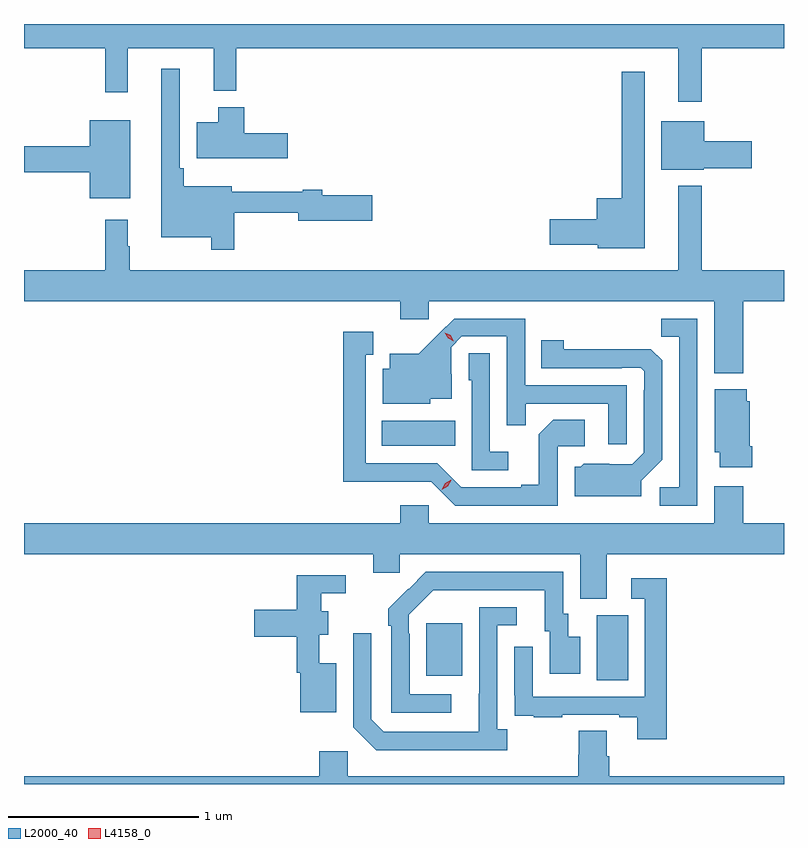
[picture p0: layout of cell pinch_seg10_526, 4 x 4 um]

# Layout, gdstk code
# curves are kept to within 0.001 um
import gdstk
lib = gdstk.Library(unit=1e-6, precision=1e-09)
def R(c, l, rs):  # rectangles x0, y0, x1, y1
    for r in rs: c.add(gdstk.rectangle(r[:2], r[2:], *l))
def P(c, l, *ps):  # polygons
    for p in ps: c.add(gdstk.Polygon(p, *l))
L2000_40 = (2000, 40)
L4158_0 = (4158, 0)

pinch_seg10_526 = lib.new_cell('pinch_seg10_526')
R(pinch_seg10_526, L2000_40, [(301.448,1263.688,301.612,1264.032), (300.551,1263.713,300.739,1263.988), (300.317,1264.922,300.704,1265.056)])
P(pinch_seg10_526, L2000_40, [(301.999,1267.016),(302.433,1267.016),(302.433,1267.143),(298.433,1267.143),(298.433,1267.016),(298.861,1267.016),(298.861,1266.783),(298.979,1266.783),(298.979,1267.016),(299.432,1267.016),(299.432,1266.791),(299.549,1266.791),(299.549,1267.016),(301.877,1267.016),(301.877,1266.735),(301.999,1266.735)],
  [(299.539,1266.15),(299.876,1266.15),(299.876,1266.107),(300.265,1266.107),(300.265,1266.242),(300.004,1266.242),(300.004,1266.271),(299.9,1266.271),(299.9,1266.259),(299.527,1266.259),(299.527,1266.289),(299.273,1266.289),(299.273,1266.385),(299.253,1266.385),(299.253,1266.907),(299.156,1266.907),(299.156,1266.02),(299.418,1266.02),(299.418,1265.955),(299.539,1265.955)],
  [(301.699,1266.892),(301.578,1266.892),(301.578,1266.226),(301.448,1266.226),(301.448,1266.116),(301.2,1266.116),(301.2,1265.981),(301.452,1265.981),(301.452,1265.963),(301.699,1265.963)],
  [(299.821,1266.567),(299.591,1266.567),(299.591,1266.706),(299.456,1266.706),(299.456,1266.625),(299.342,1266.625),(299.342,1266.437),(299.821,1266.437)],
  [(298.993,1266.637),(298.778,1266.637),(298.778,1266.5),(298.433,1266.5),(298.433,1266.364),(298.778,1266.364),(298.778,1266.227),(298.993,1266.227)],
  [(302.01,1266.383),(302.263,1266.383),(302.263,1266.525),(302.014,1266.525),(302.014,1266.631),(301.787,1266.631),(301.787,1266.377),(302.01,1266.377)],
  [(302.219,1265.684),(302.433,1265.684),(302.433,1265.848),(301.999,1265.848),(301.999,1266.292),(301.877,1266.292),(301.877,1265.848),(298.99,1265.848),(298.99,1265.972),(298.978,1265.972),(298.978,1266.112),(298.861,1266.112),(298.861,1265.848),(298.433,1265.848),(298.433,1265.684),(300.413,1265.684),(300.413,1265.589),(300.564,1265.589),(300.564,1265.684),(302.066,1265.684),(302.066,1265.306),(302.219,1265.306)],
  [(301.605,1265.241),(301.071,1265.241),(301.071,1265.592),(300.698,1265.592),(300.511,1265.407),(300.359,1265.407),(300.359,1265.329),(300.32,1265.329),(300.32,1265.144),(300.57,1265.144),(300.57,1265.171),(300.685,1265.171),(300.685,1265.3),(300.681,1265.3),(300.681,1265.442),(300.738,1265.499),(300.975,1265.499),(300.975,1265.032),(301.073,1265.032),(301.073,1265.145),(301.509,1265.145),(301.509,1264.932),(301.605,1264.932)],
  [(301.977,1265.592),(301.786,1265.592),(301.786,1265.497),(301.881,1265.497),(301.881,1264.704),(301.779,1264.704),(301.779,1264.608),(301.977,1264.608)],
  [(301.242,1264.92),(301.384,1264.92),(301.384,1265.06),(301.219,1265.06),(301.143,1264.984),(301.143,1264.717),(301.049,1264.717),(301.049,1264.704),(300.735,1264.704),(300.609,1264.83),(300.232,1264.83),(300.232,1265.403),(300.271,1265.403),(300.271,1265.524),(300.114,1265.524),(300.114,1264.733),(300.576,1264.734),(300.702,1264.608),(301.242,1264.608)],
  [(301.681,1264.74),(301.791,1264.85),(301.791,1265.372),(301.732,1265.431),(301.275,1265.432),(301.275,1265.479),(301.156,1265.479),(301.156,1265.331),(301.58,1265.331),(301.58,1265.334),(301.68,1265.334),(301.698,1265.316),(301.698,1265.216),(301.695,1265.216),(301.695,1264.887),(301.635,1264.827),(301.378,1264.828),(301.362,1264.812),(301.331,1264.812),(301.331,1264.658),(301.681,1264.658)],
  [(300.982,1264.891),(300.885,1264.891),(300.885,1265.411),(300.774,1265.411),(300.774,1265.268),(300.789,1265.268),(300.789,1264.794),(300.982,1264.794)],
  [(302.267,1264.921),(302.254,1264.921),(302.254,1265.157),(302.236,1265.157),(302.236,1265.221),(302.069,1265.221),(302.069,1264.89),(302.096,1264.89),(302.096,1264.809),(302.267,1264.809)],
  [(301.501,1264.352),(302.433,1264.352),(302.433,1264.516),(302.219,1264.516),(302.219,1264.711),(302.066,1264.711),(302.066,1264.516),(300.564,1264.516),(300.564,1264.609),(300.413,1264.609),(300.413,1264.516),(298.433,1264.516),(298.433,1264.352),(300.272,1264.352),(300.272,1264.254),(300.411,1264.254),(300.411,1264.352),(301.361,1264.352),(301.361,1264.117),(301.501,1264.117)],
  [(300.682,1263.615),(300.462,1263.615),(300.462,1263.935),(300.459,1263.935),(300.459,1264.035),(300.588,1264.164),(301.175,1264.164),(301.175,1263.948),(301.199,1263.948),(301.199,1263.723),(301.36,1263.723),(301.36,1263.919),(301.297,1263.919),(301.297,1264.038),(301.272,1264.038),(301.272,1264.26),(300.548,1264.26),(300.351,1264.065),(300.351,1263.977),(300.366,1263.977),(300.366,1263.519),(300.682,1263.519)],
  [(300.076,1263.778),(299.987,1263.778),(299.987,1263.929),(300.034,1263.929),(300.034,1264.051),(299.998,1264.051),(299.998,1264.146),(300.127,1264.146),(300.127,1264.242),(299.869,1264.242),(299.869,1264.059),(299.646,1264.059),(299.646,1263.917),(299.869,1263.917),(299.869,1263.729),(299.888,1263.729),(299.888,1263.521),(300.076,1263.521)],
  [(301.817,1264.225),(301.629,1264.225),(301.629,1264.119),(301.701,1264.119),(301.701,1263.603),(301.11,1263.603),(301.11,1263.865),(301.014,1263.865),(301.014,1263.61),(301.015,1263.61),(301.015,1263.501),(301.117,1263.501),(301.117,1263.495),(301.265,1263.495),(301.265,1263.507),(301.565,1263.507),(301.565,1263.495),(301.661,1263.495),(301.661,1263.378),(301.817,1263.378)],
  [(300.976,1263.43),(300.924,1263.43),(300.924,1263.978),(301.027,1263.978),(301.027,1264.074),(300.828,1264.074),(300.827,1263.417),(300.327,1263.417),(300.261,1263.483),(300.261,1263.937),(300.165,1263.937),(300.165,1263.441),(300.286,1263.32),(300.976,1263.32)],
  [(300.138,1263.316),(299.987,1263.316),(299.987,1263.184),(298.433,1263.184),(298.433,1263.143),(302.433,1263.143),(302.433,1263.184),(301.514,1263.184),(301.514,1263.29),(301.501,1263.29),(301.501,1263.422),(301.354,1263.422),(301.354,1263.297),(301.349,1263.297),(301.349,1263.184),(300.138,1263.184)])
P(pinch_seg10_526, L4158_0, [(300.696,1265.474),(300.665,1265.489),(300.648,1265.518),(300.648,1265.519),(300.648,1265.519),(300.679,1265.504),(300.696,1265.474),(300.696,1265.474)],
  [(300.632,1264.692),(300.632,1264.693),(300.65,1264.725),(300.682,1264.744),(300.682,1264.744),(300.682,1264.743),(300.664,1264.711),(300.632,1264.692)])

lib.write_gds('pinch_seg10_526.gds')
